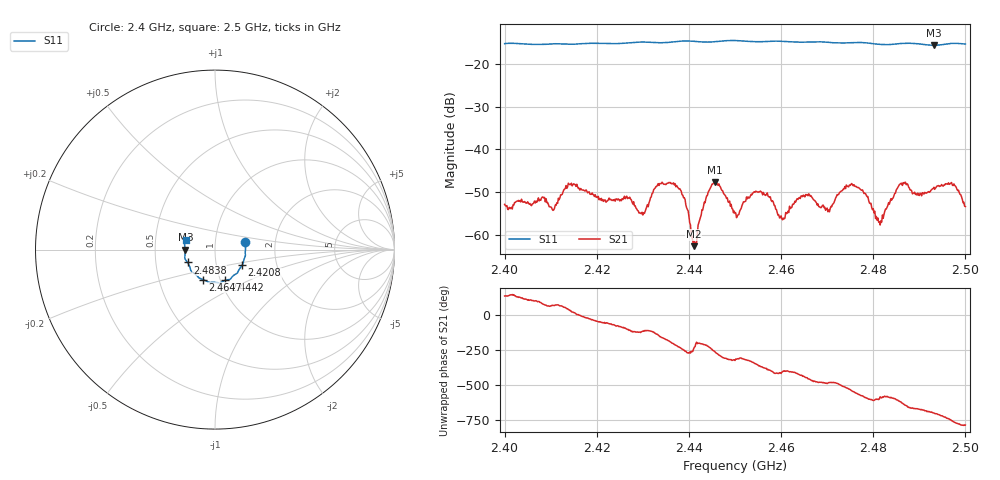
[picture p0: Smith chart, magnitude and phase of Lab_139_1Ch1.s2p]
# Hz S RI R 50
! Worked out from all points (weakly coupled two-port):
!   601 points, 2.4 GHz to 2.5 GHz, reference 50 ohm
!   highest |S21| = -47.66 dB at 2.4457 GHz (marker M1); lowest = -62.7 dB at 2.441 GHz (marker M2)
!   lowest |S11| = -15.6 dB at 2.4932 GHz (marker M3), VSWR 1.40, Z = 35.8 - j0.0885 ohm
!   |S11| at or under -10 dB: start of sweep to end of sweep
!   S12 and S22 are empty: the file has one direction only
!   S11 on the Smith chart (normalised r, x): 2.4 GHz: 1.40, +0.12; 2.4208 GHz: 1.33, -0.24; 2.4442 GHz: 1.05, -0.37; 2.4647 GHz: 0.83, -0.29; 2.4838 GHz: 0.73, -0.11; 2.5 GHz: 0.72, +0.08
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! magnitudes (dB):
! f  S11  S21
! 2.4 GHz  -15.2  -52.9
! 2.4167 GHz  -15.3  -49.4
! 2.4208 GHz  -15.2  -51.9
! 2.43 GHz  -14.9  -55.4
! 2.4333 GHz  -15.0  -48.0
! 2.4378 GHz  -14.7  -49.3
! 2.441 GHz  -14.7  -62.7
! 2.4442 GHz  -14.9  -50.0
! 2.4457 GHz  -14.8  -47.7
! 2.45 GHz  -14.5  -55.0
! 2.4552 GHz  -14.8  -49.9
! 2.4603 GHz  -14.7  -56.5
! 2.4647 GHz  -14.9  -51.1
! 2.4667 GHz  -14.8  -51.2
! 2.4702 GHz  -14.9  -54.6
! 2.4757 GHz  -15.0  -48.5
! 2.4813 GHz  -15.4  -56.9
! 2.4833 GHz  -15.5  -52.5
! 2.4838 GHz  -15.4  -51.6
! 2.4932 GHz  -15.6  -48.9
! 2.4973 GHz  -15.2  -48.5
! 2.5 GHz  -15.3  -53.4
